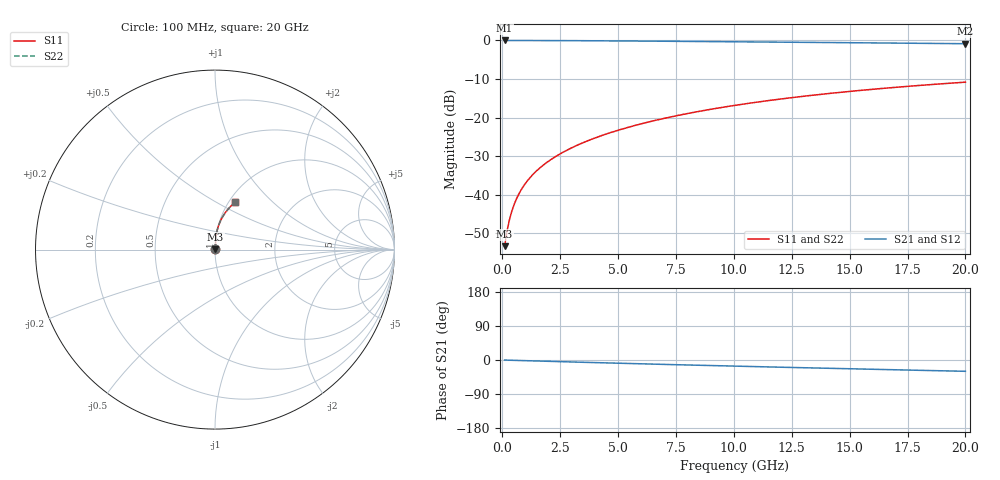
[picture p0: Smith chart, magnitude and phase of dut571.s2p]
! Touchstone file exported from HFSS 2024.1.0
!  File:  C:/UserFiles/LocalFiles/RDL_TSV_Batchsim/temp_RDL_top_571_1779681693.aedt
!  Generated:  12:04:00 PM May 25, 2026
!  Design:  RDL_top
!  Project:  temp_RDL_top_571_1779681693
!  Setup:  Setup1
!  Solution:  Sweep
! Variables:
!  dtsv = 10.80580581um
!  hbump = 3um
!  htsv = 93.5um
!  ldown = 100um
!  lrdl = 414.06um
!  p = 40
!  p1 = 48.96um
!  rhole = 1um
!  t = 450um
!  tdown = 3.915915916um
!  trdl = 4.88um
!  wdown = 15.38538539um
!  wrdl = 20.98um
# GHz S MA R 50.000000
! Terminal data exported
! Port[1] = Box2_T1
! Port[2] = Box2_T2
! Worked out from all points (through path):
!   200 points, 100 MHz to 20 GHz, reference 50 ohm
!   highest |S21| = -0.01 dB at 100 MHz (marker M1); lowest = -0.9 dB at 20 GHz (marker M2)
!   group delay of S21, straight-line fit = 4.1 ps
!   lowest |S11| = -53.3 dB at 100 MHz (marker M3), VSWR 1.00, Z = 50.2 + j0.146 ohm
!   |S11| at or under -10 dB: start of sweep to end of sweep
!   |S22| runs from -53.3 to -10.8 dB; largest |S21 - S12| = 5.1e-15
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0.1  0.002154 42.6  0.9984 -0.2  0.9984 -0.2  0.002154 42.6
! Gamma 0 0 0 0
! Port Impedance 50 0 50 0
0.2  0.003308 61.4  0.9983 -0.4  0.9983 -0.4  0.003308 61.4
0.3  0.004615 69.9  0.9982 -0.5  0.9982 -0.5  0.004615 69.9
0.4  0.005962 74.5  0.9981 -0.7  0.9981 -0.7  0.005962 74.5
0.5  0.007319 77.2  0.998 -0.9  0.998 -0.9  0.007318 77.2
0.7  0.01002 80.3  0.9977 -1.2  0.9977 -1.2  0.01002 80.3
0.8  0.01137 81.2  0.9976 -1.4  0.9976 -1.4  0.01137 81.2
1  0.01403 82.4  0.9974 -1.8  0.9974 -1.8  0.01403 82.4
1.2  0.01669 83.2  0.9971 -2.1  0.9971 -2.1  0.01668 83.2
1.4  0.01932 83.8  0.9968 -2.5  0.9968 -2.5  0.01932 83.8
1.7  0.02328 84.4  0.9962 -3.0  0.9962 -3.0  0.02327 84.4
2  0.02723 84.8  0.9955 -3.5  0.9955 -3.5  0.02723 84.8
2.7  0.03656 85.5  0.9936 -4.7  0.9936 -4.7  0.03655 85.5
3.5  0.04742 85.8  0.991 -6.0  0.991 -6.0  0.04742 85.8
4.2  0.05714 85.8  0.9883 -7.2  0.9883 -7.2  0.05713 85.8
5  0.06848 85.6  0.9849 -8.5  0.9849 -8.5  0.06847 85.6
6.8  0.09481 84.4  0.9764 -11.3  0.9764 -11.3  0.09479 84.4
8.4  0.1189 82.8  0.9684 -13.8  0.9684 -13.8  0.1189 82.8
10.1  0.1448 80.8  0.9596 -16.3  0.9596 -16.3  0.1447 80.8
13.4  0.1947 76.2  0.9422 -21.0  0.9422 -21.0  0.1946 76.2
16.7  0.2426 71.5  0.9244 -25.5  0.9244 -25.5  0.2425 71.4
20  0.2876 66.8  0.9063 -29.8  0.9063 -29.8  0.2875 66.7
